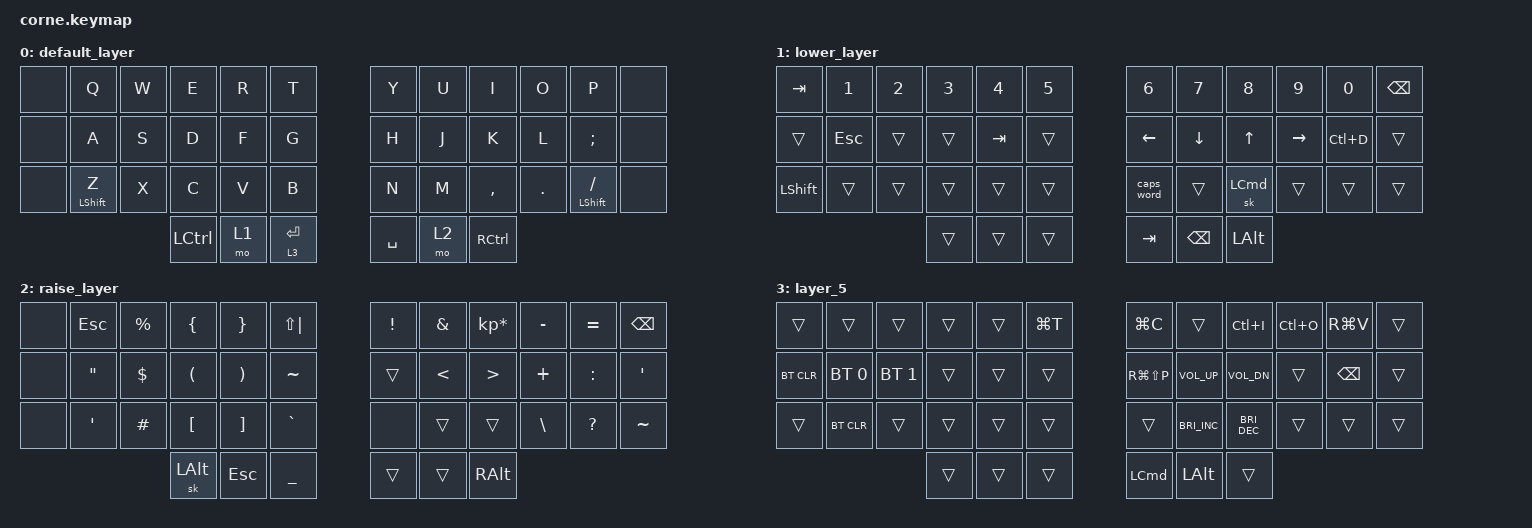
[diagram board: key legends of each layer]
/*
 * Copyright (c) 2020 The ZMK Contributors
 *
 * SPDX-License-Identifier: MIT
 */

#include <behaviors.dtsi>
#include <dt-bindings/zmk/bt.h>
#include <dt-bindings/zmk/keys.h>

/ {
    behaviors {
        holdtab: holdtab {
            compatible = "zmk,behavior-hold-tap";
            label = "HOLDTAB";
            bindings = <&kp>, <&kp>;

            #binding-cells = <2>;
            flavor = "hold-preferred";
            tapping-term-ms = <150>;
        };

        kp_mod: kp_mod {
            compatible = "zmk,behavior-hold-tap";
            label = "KP_MOD";
            bindings = <&mo>, <&kp>;

            #binding-cells = <2>;
            tapping-term-ms = <200>;
            flavor = "tap-preferred";
        };

        kpmodr: kpmodr {
            compatible = "zmk,behavior-hold-tap";
            label = "KPMODR";
            bindings = <&mo>, <&kp>;

            #binding-cells = <2>;
            tapping-term-ms = <200>;
            flavor = "hold-preferred";
        };

        kp_shift: kp_shift {
            compatible = "zmk,behavior-hold-tap";
            label = "KP_SHIFT";
            bindings = <&kp>, <&kp>;

            #binding-cells = <2>;
            flavor = "tap-preferred";
            tapping-term-ms = <200>;
        };

        kp_lt: kp_lt {
            compatible = "zmk,behavior-hold-tap";
            label = "KP_LT";
            bindings = <&lt>, <&kp>;

            #binding-cells = <2>;
            tapping-term-ms = <200>;
        };

        stmo: stmo {
            compatible = "zmk,behavior-hold-tap";
            label = "STMO";
            bindings = <&mo>, <&sk>;

            #binding-cells = <2>;
            tapping-term-ms = <150>;
            flavor = "tap-preferred";
        };

        kp_stiky: kp_stiky {
            compatible = "zmk,behavior-hold-tap";
            label = "KP_STIKY";
            bindings = <&kp>, <&sk>;

            #binding-cells = <2>;
            tapping-term-ms = <200>;
            flavor = "tap-unless-interrupted";
        };

        holdtab2: holdtab2 {
            compatible = "zmk,behavior-hold-tap";
            label = "HOLDTAB2";
            bindings = <&kp>, <&kp>;

            #binding-cells = <2>;
            tapping-term-ms = <200>;
            flavor = "tap-unless-interrupted";
        };
    };

    macros {
        split_h: split_h {
            compatible = "zmk,behavior-macro";
            label = "SPLIT_H";
            #binding-cells = <0>;
            bindings = <&kp LC(A) &kp MINUS>;
        };

        let_mut: let_mut {
            compatible = "zmk,behavior-macro";
            #binding-cells = <0>;
            bindings = <&kp L &kp E &kp T &kp SPACE &kp M &kp U &kp T>;
            label = "LET_MUT";
        };
    };

    combos {
        compatible = "zmk,combos";
    };

    keymap {
        compatible = "zmk,keymap";

        default_layer {
            // -----------------------------------------------------------------------------------------
            // |  TAB |  Q  |  W  |  E  |  R  |  T  |   |  Y  |  U   |  I  |  O  |  P  | BKSP |
            // | CTRL |  A  |  S  |  D  |  F  |  G  |   |  H  |  J   |  K  |  L  |  ;  |  '   |
            // | SHFT |  Z  |  X  |  C  |  V  |  B  |   |  N  |  M   |  ,  |  .  |  /  | ESC  |
            //                    | GUI | LWR | SPC |   | ENT | RSE  | ALT |

            bindings = <
&none  &kp Q                  &kp W  &kp E             &kp R  &kp T            &kp Y      &kp U  &kp I              &kp O    &kp P                      &none
&none  &kp A                  &kp S  &kp D             &kp F  &kp G            &kp H      &kp J  &kp K              &kp L    &kp SEMICOLON              &none
&none  &holdtab LEFT_SHIFT Z  &kp X  &kp C             &kp V  &kp B            &kp N      &kp M  &kp COMMA          &kp DOT  &holdtab LEFT_SHIFT SLASH  &none
                                     &kp LEFT_CONTROL  &mo 1  &kpmodr 3 RET    &kp SPACE  &mo 2  &kp RIGHT_CONTROL
            >;
        };

        lower_layer {
            // -----------------------------------------------------------------------------------------
            // |  TAB |  1  |  2  |  3  |  4  |  5  |   |  6  |  7  |  8  |  9  |  0  | BKSP |
            // | BTCLR| BT1 | BT2 | BT3 | BT4 | BT5 |   | LFT | DWN |  UP | RGT |     |      |
            // | SHFT |     |     |     |     |     |   |     |     |     |     |     |      |
            //                    | GUI |     | SPC |   | ENT |     | ALT |

            bindings = <
&kp TAB    &kp N1   &kp N2  &kp N3  &kp N4   &kp N5    &kp N6      &kp N7          &kp N8            &kp N9           &kp N0     &kp BSPC
&trans     &kp ESC  &trans  &trans  &kp TAB  &trans    &kp LEFT    &kp DOWN_ARROW  &kp UP_ARROW      &kp RIGHT_ARROW  &kp LC(D)  &trans
&kp LSHFT  &trans   &trans  &trans  &trans   &trans    &caps_word  &trans          &sk LEFT_COMMAND  &trans           &trans     &trans
                            &trans  &trans   &trans    &kp TAB     &kp BACKSPACE   &kp LEFT_ALT
            >;
        };

        raise_layer {
            // -----------------------------------------------------------------------------------------
            // |  TAB |  !  |  @  |  #  |  $  |  %  |   |  ^  |  &  |  *  |  (  |  )  | BKSP |
            // | CTRL |     |     |     |     |     |   |  -  |  =  |  [  |  ]  |  \  |  `   |
            // | SHFT |     |     |     |     |     |   |  _  |  +  |  {  |  }  | "|" |  ~   |
            //                    | GUI |     | SPC |   | ENT |     | ALT |

            bindings = <
&none  &kp ESC            &kp PERCENT  &kp LEFT_BRACE        &kp RIGHT_BRACE        &kp LS(PIPE)      &kp EXCLAMATION  &kp AMPS  &kp KP_MULTIPLY  &kp MINUS      &kp EQUAL  &kp BSPC
&none  &kp DOUBLE_QUOTES  &kp DOLLAR   &kp LEFT_PARENTHESIS  &kp RIGHT_PARENTHESIS  &kp TILDE         &trans           &kp LT    &kp GT           &kp PLUS       &kp COLON  &kp SQT
&none  &kp APOSTROPHE     &kp POUND    &kp LBKT              &kp RIGHT_BRACKET      &kp GRAVE         &none            &trans    &trans           &kp BACKSLASH  &kp QMARK  &kp TILDE
                                       &sk LEFT_ALT          &kp ESC                &kp UNDERSCORE    &trans           &trans    &kp RALT
            >;
        };

        layer_5 {
            bindings = <
&trans      &trans        &trans        &trans  &trans  &kp LG(T)    &kp LG(C)         &trans                &kp LC(I)             &kp LC(O)  &kp RG(V)      &trans
&bt BT_CLR  &bt BT_SEL 0  &bt BT_SEL 1  &trans  &trans  &trans       &kp RG(LS(P))     &kp C_VOLUME_UP       &kp C_VOL_DN          &trans     &kp BACKSPACE  &trans
&trans      &bt BT_CLR    &trans        &trans  &trans  &trans       &trans            &kp C_BRIGHTNESS_INC  &kp C_BRIGHTNESS_DEC  &trans     &trans         &trans
                                        &trans  &trans  &trans       &kp LEFT_COMMAND  &kp LEFT_ALT          &trans
            >;
        };
    };
};
